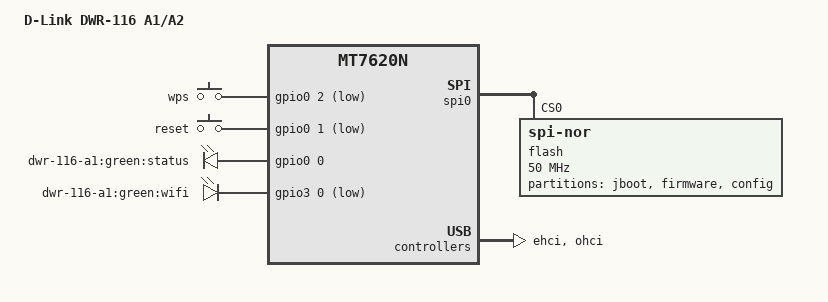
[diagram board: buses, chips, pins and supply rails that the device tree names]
/dts-v1/;

#include "mt7620n.dtsi"

#include <dt-bindings/gpio/gpio.h>
#include <dt-bindings/input/input.h>

/ {
	compatible = "dlink,dwr-116-a1", "ralink,mt7620n-soc";
	model = "D-Link DWR-116 A1/A2";

	aliases {
		led-boot = &led_status;
		led-failsafe = &led_status;
		led-running = &led_status;
		led-upgrade = &led_status;
	};

	keys {
		compatible = "gpio-keys-polled";
		poll-interval = <20>;

		wps {
			label = "wps";
			gpios = <&gpio0 2 GPIO_ACTIVE_LOW>;
			linux,code = <KEY_WPS_BUTTON>;
		};

		reset {
			label = "reset";
			gpios = <&gpio0 1 GPIO_ACTIVE_LOW>;
			linux,code = <KEY_RESTART>;
		};
	};

	leds {
		compatible = "gpio-leds";

		led_status: status {
			label = "dwr-116-a1:green:status";
			gpios = <&gpio0 0 GPIO_ACTIVE_HIGH>;
		};

		wifi {
			label = "dwr-116-a1:green:wifi";
			gpios = <&gpio3 0 GPIO_ACTIVE_LOW>;
		};
	};
};

&gpio1 {
	status = "okay";
};

&gpio3 {
	status = "okay";
};

&spi0 {
	status = "okay";

	flash@0 {
		compatible = "jedec,spi-nor";
		reg = <0>;
		spi-max-frequency = <50000000>;

		partitions {
			compatible = "fixed-partitions";
			#address-cells = <1>;
			#size-cells = <1>;

			partition@0 {
				label = "jboot";
				reg = <0x0 0x10000>;
				read-only;
			};

			partition@10000 {
				compatible = "amit,jimage";
				label = "firmware";
				reg = <0x10000 0x7e0000>;
			};

			config: partition@7f0000 {
				label = "config";
				reg = <0x7f0000 0x10000>;
				read-only;
			};
		};
	};
};

&ehci {
	status = "okay";
};

&ohci {
	status = "okay";
};

&pinctrl {
	state_default: pinctrl0 {
		default {
			ralink,group = "i2c", "wled";
			ralink,function = "gpio";
		};
	};
};

&ethernet {
	mediatek,portmap = "llllw";
	pinctrl-names = "default";
	pinctrl-0 = <&ephy_pins>;
};
